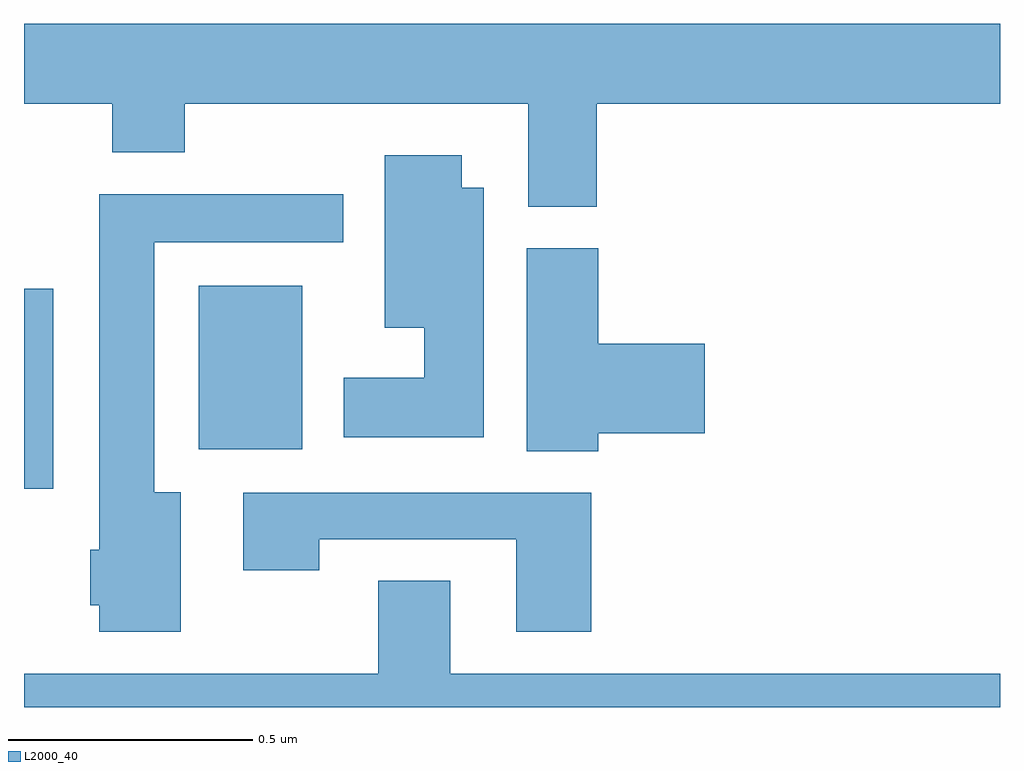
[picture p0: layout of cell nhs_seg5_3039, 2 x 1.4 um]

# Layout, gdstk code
import gdstk
lib = gdstk.Library(unit=1e-6, precision=1e-09)
def R(c, l, rs):  # rectangles x0, y0, x1, y1
    for r in rs: c.add(gdstk.rectangle(r[:2], r[2:], *l))
def P(c, l, *ps):  # polygons
    for p in ps: c.add(gdstk.Polygon(p, *l))
L2000_40 = (2000, 40)

nhs_seg5_3039 = lib.new_cell('nhs_seg5_3039')
R(nhs_seg5_3039, L2000_40, [(151,913.247,151.06,913.657), (151.358,913.328,151.57,913.663)])
P(nhs_seg5_3039, L2000_40, [(152.174,914.036),(153,914.036),(153,914.2),(151,914.2),(151,914.036),(151.181,914.036),(151.181,913.937),(151.329,913.937),(151.329,914.036),(152.033,914.036),(152.033,913.825),(152.174,913.825)],
  [(151.942,913.864),(151.897,913.864),(151.897,913.93),(151.739,913.93),(151.739,913.577),(151.82,913.577),(151.82,913.474),(151.655,913.474),(151.655,913.352),(151.942,913.352)],
  [(151.321,913.24),(151.267,913.24),(151.267,913.752),(151.654,913.752),(151.654,913.85),(151.154,913.85),(151.154,913.122),(151.136,913.122),(151.136,913.008),(151.154,913.008),(151.154,912.954),(151.321,912.954)],
  [(152.177,913.361),(152.395,913.361),(152.395,913.544),(152.177,913.544),(152.177,913.74),(152.03,913.74),(152.03,913.324),(152.177,913.324)],
  [(152.162,913.239),(151.449,913.239),(151.449,913.08),(151.605,913.08),(151.605,913.143),(152.009,913.143),(152.009,912.954),(152.162,912.954)],
  [(153,912.868),(151.873,912.868),(151.873,913.058),(151.726,913.058),(151.726,912.868),(151,912.868),(151,912.799),(153,912.799)])

lib.write_gds('nhs_seg5_3039.gds')
